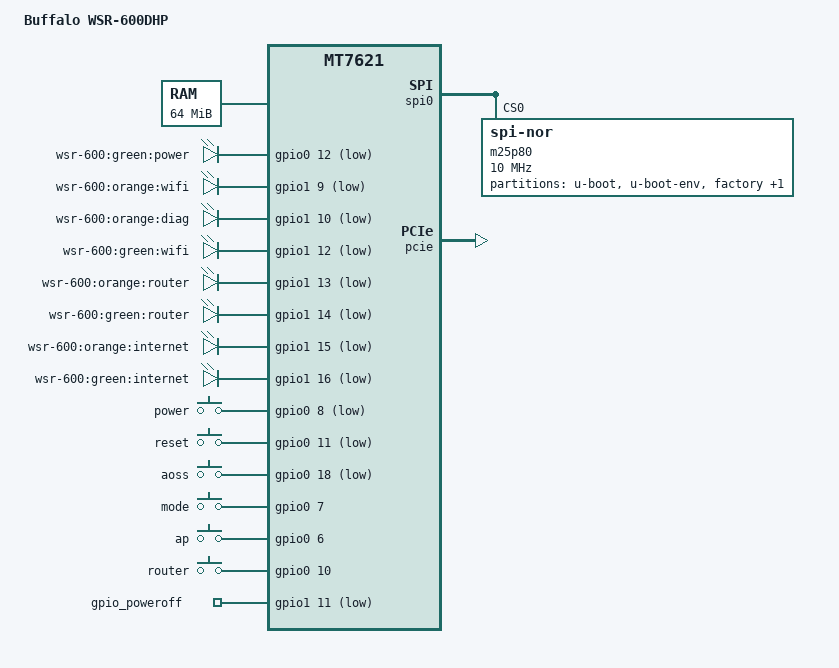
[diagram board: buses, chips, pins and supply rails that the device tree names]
/dts-v1/;

#include "mt7621.dtsi"

#include <dt-bindings/input/input.h>

/ {
	model = "Buffalo WSR-600DHP";

	memory@0 {
		device_type = "memory";
		reg = <0x0 0x4000000>;
	};

	chosen {
		bootargs = "console=ttyS0,57600";
	};

	gpio-leds {
		compatible = "gpio-leds";

		power {
			label = "wsr-600:green:power";
			gpios = <&gpio0 12 1>;
		};

		wifi_o {
			label = "wsr-600:orange:wifi";
			gpios = <&gpio1 9 1>;
		};

		diag {
			label = "wsr-600:orange:diag";
			gpios = <&gpio1 10 1>;
		};

		wifi_g {
			label = "wsr-600:green:wifi";
			gpios = <&gpio1 12 1>;
		};

		router_o {
			label = "wsr-600:orange:router";
			gpios = <&gpio1 13 1>;
		};

		router_g {
			label = "wsr-600:green:router";
			gpios = <&gpio1 14 1>;
		};

		internet_o {
			label = "wsr-600:orange:internet";
			gpios = <&gpio1 15 1>;
		};

		internet_g {
			label = "wsr-600:green:internet";
			gpios = <&gpio1 16 1>;
		};
	};

	gpio-keys-polled {
		compatible = "gpio-keys-polled";
		#address-cells = <1>;
		#size-cells = <0>;
		poll-interval = <20>;

		power {
			label = "power";
			gpios = <&gpio0 8 1>;
			linux,code = <KEY_POWER>;
		};

		reset {
			label = "reset";
			gpios = <&gpio0 11 1>;
			linux,code = <KEY_RESTART>;
		};

		aoss {
			label = "aoss";
			gpios = <&gpio0 18 1>;
			linux,code = <KEY_WPS_BUTTON>;
		};

		auto {
			label = "mode";
			gpios = <&gpio0 7 0>;
			linux,code = <BTN_0>;
			linux,input-type = <EV_SW>;
		};

		ap {
			label = "ap";
			gpios = <&gpio0 6 0>;
			linux,code = <BTN_0>;
			linux,input-type = <EV_SW>;
		};

		router {
			label = "router";
			gpios = <&gpio0 10 0>;
			linux,code = <BTN_0>;
			linux,input-type = <EV_SW>;
		};
	};

	gpio_poweroff {
		compatible = "gpio-poweroff";
		gpios = <&gpio1 11 1>;
	};
};

&spi0 {
	status = "okay";

	m25p80@0 {
		#address-cells = <1>;
		#size-cells = <1>;
		compatible = "jedec,spi-nor";
		reg = <0>;
		spi-max-frequency = <10000000>;
		m25p,chunked-io = <32>;

		partition@0 {
			label = "u-boot";
			reg = <0x0 0x30000>;
			read-only;
		};

		partition@30000 {
			label = "u-boot-env";
			reg = <0x30000 0x10000>;
			read-only;
		};

		factory: partition@40000 {
			label = "factory";
			reg = <0x40000 0x10000>;
			read-only;
		};

		partition@50000 {
			label = "firmware";
			reg = <0x50000 0xfb0000>;
		};
	};
};

&pinctrl {
	state_default: pinctrl0 {
		gpio {
			ralink,group = "i2c", "uart2", "uart3", "rgmii2", "sdhci";
			ralink,function = "gpio";
		};
	};
};

&pcie {
	status = "okay";

	pcie0 {
		rt5592@0,0 {
			reg = <0x0000 0 0 0 0>;
			device_type = "pci";
			ralink,mtd-eeprom = <&factory 0x8000>;
		};
	};

	pcie1 {
		mt76@1,0 {
			reg = <0x0000 0 0 0 0>;
			device_type = "pci";
			mediatek,mtd-eeprom = <&factory 0x0000>;
		};
	};
};

&xhci {
	status = "disabled";
};
